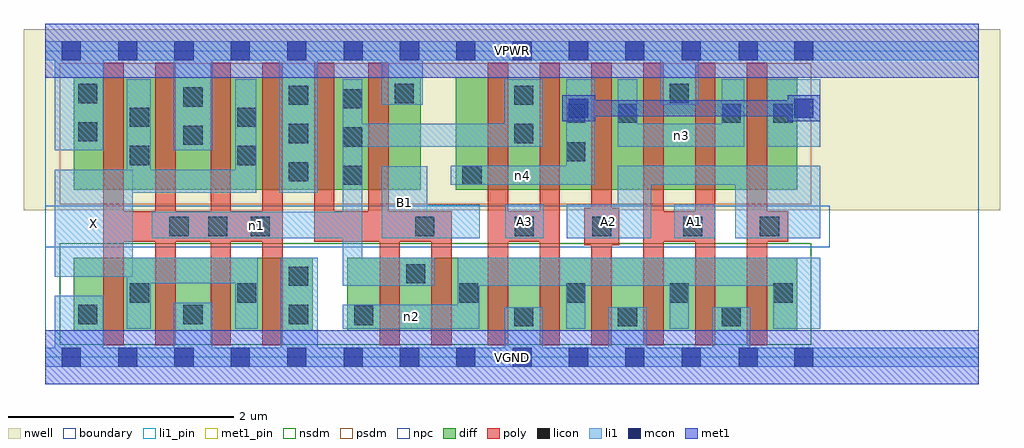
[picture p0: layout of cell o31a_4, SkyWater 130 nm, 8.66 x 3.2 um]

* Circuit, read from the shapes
.subckt o31a_4 A1 A2 A3 B1 VGND VPWR X n1 n2 n3 n4
XM1 X n1 VGND VSUBS sky130_fd_pr__nfet_01v8 w=0.65 l=0.18 m=4
XM2 n1 B1 n2 VSUBS sky130_fd_pr__nfet_01v8 w=0.65 l=0.18 m=2
XM3 VGND A3 n2 VSUBS sky130_fd_pr__nfet_01v8 w=0.65 l=0.18 m=2
XM4 VGND A2 n2 VSUBS sky130_fd_pr__nfet_01v8 w=0.65 l=0.18 m=2
XM5 n2 A1 VGND VSUBS sky130_fd_pr__nfet_01v8 w=0.65 l=0.18 m=2
XM6 X n1 VPWR n5 sky130_fd_pr__pfet_01v8 w=1 l=0.18 m=4
XM7 n1 B1 VPWR n5 sky130_fd_pr__pfet_01v8 w=1 l=0.18 m=2
XM8 n1 A3 n4 n5 sky130_fd_pr__pfet_01v8 w=1 l=0.18 m=2
XM9 n3 A2 n4 n5 sky130_fd_pr__pfet_01v8 w=1 l=0.18 m=2
XM10 VPWR A1 n3 n5 sky130_fd_pr__pfet_01v8 w=1 l=0.18 m=2
.ends

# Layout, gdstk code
import gdstk
lib = gdstk.Library(unit=1e-6, precision=1e-09)
def R(c, l, rs):  # rectangles x0, y0, x1, y1
    for r in rs: c.add(gdstk.rectangle(r[:2], r[2:], *l))
def A(c, l, x, y, w, h, nx, ny, dx, dy):  # array of equal rectangles
    R(c, l, [(x+i*dx, y+j*dy, x+i*dx+w, y+j*dy+h) for i in range(nx) for j in range(ny)])
nwell = (64, 20)
diff = (65, 20)
poly = (66, 20)
licon = (66, 44)
li1_pin = (67, 16)
li1 = (67, 20)
mcon = (67, 44)
met1_pin = (68, 16)
met1 = (68, 20)
nsdm = (93, 44)
psdm = (94, 20)
npc = (95, 20)
boundary = (235, 4)

o31a_4 = lib.new_cell('o31a_4')
R(o31a_4, nwell, [(-0.19,1.305,8.47,2.91), (0,1.305,8.28,2.91)])
R(o31a_4, diff, [(0.25,0.235,2.37,0.885), (2.68,0.235,6.67,0.885), (0.25,1.485,3.33,2.485), (3.64,1.485,6.67,2.485)])
A(o31a_4, poly, 3.925, 0.105, 0.18, 2.51, 6, 1, 0.46, 0)
R(o31a_4, poly, [(0.515,0.105,0.695,2.615), (0.975,0.105,1.155,2.615), (1.465,0.105,1.645,2.615), (1.925,0.105,2.105,2.615), (2.965,0.105,3.145,1.295), (3.425,0.105,3.605,1.295), (4.78,0.995,5.09,1.325), (0.515,1.025,2.105,1.295), (2.385,1.025,3.605,1.295), (2.385,1.025,2.565,2.615), (2.865,1.025,3.045,2.615), (3.925,1.025,4.565,1.295), (5.305,1.025,5.945,1.295), (6.225,1.025,6.59,1.295)])
A(o31a_4, licon, 4.16, 0.275, 0.17, 0.17, 3, 1, 0.92, 0)
A(o31a_4, licon, 0.29, 0.295, 0.17, 0.17, 3, 1, 0.935, 0)
A(o31a_4, licon, 4.62, 0.485, 0.17, 0.17, 3, 1, 0.92, 0)
A(o31a_4, licon, 2.64, 1.53, 0.17, 0.17, 1, 3, 0, 0.34)
A(o31a_4, licon, 2.16, 1.56, 0.17, 0.17, 1, 3, 0, 0.34)
R(o31a_4, licon, [(2.74,0.285,2.91,0.455), (0.75,0.485,0.92,0.655), (1.7,0.485,1.87,0.655), (3.67,0.485,3.84,0.655), (2.16,0.635,2.33,0.805), (3.2,0.655,3.37,0.825), (1.1,1.075,1.27,1.245), (1.445,1.075,1.615,1.245), (1.82,1.075,1.99,1.245), (3.28,1.075,3.45,1.245), (4.165,1.075,4.335,1.245), (4.85,1.075,5.02,1.245), (5.66,1.075,5.83,1.245), (6.34,1.075,6.51,1.245), (3.7,1.53,3.87,1.7), (0.75,1.705,0.92,1.875), (1.7,1.705,1.87,1.875), (4.62,1.74,4.79,1.91), (1.225,1.885,1.395,2.055), (4.16,1.9,4.33,2.07), (0.29,1.915,0.46,2.085), (0.75,2.045,0.92,2.215), (1.7,2.045,1.87,2.215), (4.62,2.08,4.79,2.25), (5.08,2.08,5.25,2.25), (6,2.08,6.17,2.25), (6.46,2.08,6.63,2.25), (1.225,2.225,1.395,2.395), (4.16,2.24,4.33,2.41), (0.29,2.255,0.46,2.425), (3.1,2.255,3.27,2.425), (5.54,2.255,5.71,2.425)])
R(o31a_4, li1_pin, [(0.085,0.715,0.775,1.665), (2.985,1.055,3.39,1.695), (4.08,1.055,4.42,1.36), (4.625,1.055,5.375,1.36), (5.58,1.055,5.945,1.36)])
A(o31a_4, li1, 4.075, -0.085, 0.34, 0.53, 3, 1, 0.92, 0)
R(o31a_4, li1, [(0,-0.085,8.28,0.085), (0.085,-0.085,0.515,0.545), (1.14,-0.085,1.48,0.485), (2.09,-0.085,2.415,0.885), (0.72,0.255,0.935,0.885), (1.685,0.255,1.885,0.885), (2.64,0.255,3.85,0.465), (3.66,0.255,3.85,0.885), (4.62,0.255,4.79,0.885), (5.54,0.255,5.71,0.885), (6.46,0.255,6.875,0.885), (2.64,0.635,2.81,2.465), (2.64,0.635,3.455,0.885), (3.66,0.635,6.875,0.885), (0.72,0.655,1.885,0.885), (0.085,0.715,0.775,1.665), (0.945,1.055,2.81,1.29), (2.985,1.055,3.855,1.355), (2.985,1.055,3.39,1.695), (4.08,1.055,4.42,1.36), (4.625,1.055,5.375,1.36), (5.08,1.055,5.375,1.7), (5.58,1.055,5.945,1.36), (6.12,1.055,6.875,1.7), (0.085,1.46,1.87,1.665), (0.72,1.46,0.935,2.465), (1.685,1.46,1.87,2.465), (2.075,1.46,2.415,2.805), (3.595,1.53,4.875,1.7), (4.62,1.53,4.875,2.465), (5.08,1.53,6.875,1.7), (0.085,1.835,0.515,2.805), (1.14,1.835,1.48,2.805), (2.64,1.87,4.415,2.07), (4.075,1.87,4.415,2.465), (5.08,1.87,6.2,2.07), (5.08,1.87,5.25,2.465), (6,1.87,6.2,2.465), (6.405,1.87,6.875,2.465), (2.985,2.24,3.35,2.805), (5.455,2.24,5.795,2.805), (0,2.635,8.28,2.805)])
A(o31a_4, mcon, 0.145, -0.085, 0.17, 0.17, 12, 2, 0.5, 2.72)
R(o31a_4, mcon, [(6.15,-0.085,6.32,0.085), (6.645,-0.085,6.815,0.085), (4.645,2.125,4.815,2.295), (6.645,2.125,6.815,2.295), (6.15,2.635,6.32,2.805), (6.645,2.635,6.815,2.805)])
R(o31a_4, met1_pin, [(0,-0.24,8.28,0.24), (0,2.48,8.28,2.96)])
R(o31a_4, met1, [(0,-0.24,8.28,0.24), (4.585,2.095,4.88,2.325), (6.585,2.095,6.875,2.325), (4.585,2.14,6.875,2.28), (0,2.48,8.28,2.96)])
R(o31a_4, nsdm, [(0.125,0.11,6.795,1.01)])
R(o31a_4, psdm, [(0.125,1.36,6.795,2.61)])
R(o31a_4, npc, [(0,0.975,6.96,1.345)])
R(o31a_4, boundary, [(0,0,8.28,2.72)])
o31a_4.add(gdstk.Label('A1', (5.762,1.207), layer=67, texttype=5))
o31a_4.add(gdstk.Label('A2', (5,1.207), layer=67, texttype=5))
o31a_4.add(gdstk.Label('A3', (4.25,1.207), layer=67, texttype=5))
o31a_4.add(gdstk.Label('B1', (3.187,1.375), layer=67, texttype=5))
o31a_4.add(gdstk.Label('X', (0.43,1.19), layer=67, texttype=5))
o31a_4.add(gdstk.Label('n2', (3.245,0.36), layer=67, texttype=5))
o31a_4.add(gdstk.Label('n1', (1.877,1.172), layer=67, texttype=5))
o31a_4.add(gdstk.Label('n4', (4.235,1.615), layer=67, texttype=5))
o31a_4.add(gdstk.Label('n3', (5.64,1.97), layer=67, texttype=5))
o31a_4.add(gdstk.Label('VPWR', (4.14,2.72), layer=68, texttype=5))
o31a_4.add(gdstk.Label('VGND', (4.14,0), layer=68, texttype=5))
o31a_4.add(gdstk.Label('A1', (5.762,1.207), layer=67, texttype=16))
o31a_4.add(gdstk.Label('A2', (5,1.207), layer=67, texttype=16))
o31a_4.add(gdstk.Label('A3', (4.25,1.207), layer=67, texttype=16))
o31a_4.add(gdstk.Label('B1', (3.187,1.375), layer=67, texttype=16))
o31a_4.add(gdstk.Label('X', (0.43,1.19), layer=67, texttype=16))
o31a_4.add(gdstk.Label('VPWR', (4.14,2.72), layer=68, texttype=16))
o31a_4.add(gdstk.Label('VGND', (4.14,0), layer=68, texttype=16))

lib.write_gds('o31a_4.gds')
